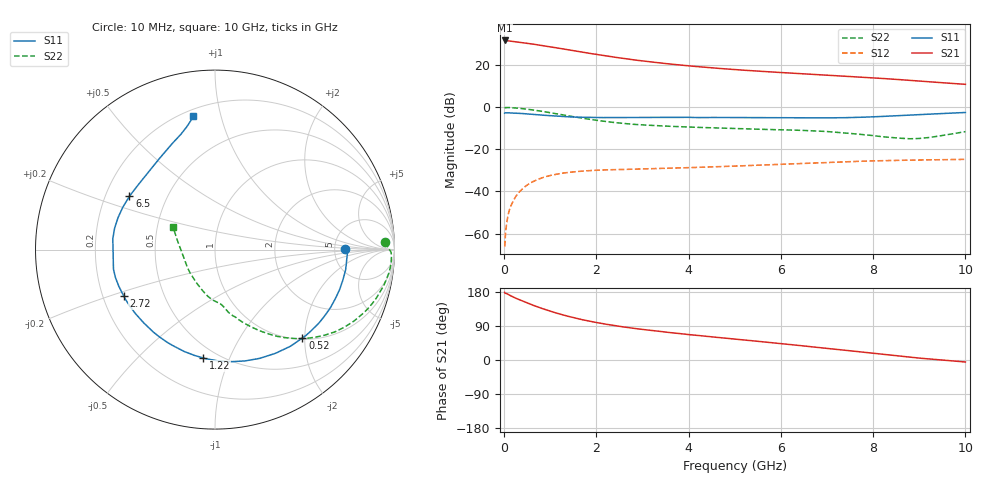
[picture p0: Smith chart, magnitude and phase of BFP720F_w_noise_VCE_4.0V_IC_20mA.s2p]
! Infineon Technologies  Discrete & RF Semiconductors
! BFP720F
! VCE =  4.0 V,  IC =  20 mA
! Common Emitter S-Parameters:  Jan 2016
# GHz  S  MA  R  50
!  f  S11  S21  S12  S22
! GHz  MAG  ANG  MAG  ANG  MAG  ANG  MAG  ANG
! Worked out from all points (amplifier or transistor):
!   233 points, 10 MHz to 10 GHz, reference 50 ohm
!   highest |S21| = 31.8 dB at 10 MHz (marker M1)
!   |S21| within 3 dB of that: start of sweep to 1.001 GHz
!   unconditionally stable (mu >= 1): start of sweep to 17.12 MHz; 5.55 GHz to end of sweep
!   at 200 MHz: K = 0.16, MSG = 37.8 dB, |S12| = -44.4 dB
!   at 1.74 GHz: K = 0.44, MSG = 28.2 dB, |S12| = -30.3 dB
!   at 10 GHz: K = 1.18, MAG = 15.3 dB, |S12| = -24.8 dB
!   lowest NFmin = 0.86 dB at 450 MHz
!   S11 on the Smith chart (normalised r, x): 10 MHz: 6.23, +0.10; 520 MHz: 1.03, -1.95; 1.22 GHz: 0.42, -0.80; 2.72 GHz: 0.29, -0.22; 6.5 GHz: 0.30, +0.26; 10 GHz: 0.24, +0.82
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0.01  0.7233 0.3  38.71 178.5  0.0005 6.9  0.9475 2.4
0.02  0.7379 -1.4  38.31 176.2  0.0007 70.3  0.9806 -0.8
0.05  0.7364 -4.3  38.2 175.5  0.0016 79.2  0.9841 -1.9
0.14  0.7329 -12.4  37.25 169.6  0.0043 79.5  0.9796 -6.8
0.24  0.7248 -21.3  36.03 163.7  0.0072 76.7  0.9631 -11.5
0.38  0.7106 -33.5  34.38 156.3  0.0111 71.9  0.9315 -18.0
0.52  0.6927 -45.3  32.82 149.6  0.0147 66.7  0.8944 -23.8
0.6  0.6833 -52.0  32.01 145.7  0.0166 63.9  0.8709 -27.2
0.8  0.6553 -67.6  29.73 136.8  0.0207 57.2  0.8089 -34.6
1  0.6309 -82.0  27.41 128.7  0.0239 51.3  0.743 -41.1
1.22  0.6073 -96.3  24.98 120.7  0.0266 45.9  0.6747 -47.3
1.48  0.5868 -111.3  22.36 112.4  0.029 40.7  0.6019 -53.7
1.68  0.5773 -121.1  20.56 106.8  0.0303 37.5  0.5533 -57.8
2.2  0.5692 -140.6  16.67 94.6  0.0325 31.6  0.4589 -66.5
2.72  0.5705 -153.2  13.81 85.1  0.0336 28.4  0.4005 -72.4
3.4  0.5751 -163.0  11.24 75.1  0.0353 26.8  0.3612 -77.4
4  0.5763 -169.0  9.634 67.1  0.0367 26.2  0.3383 -79.7
5.1  0.5708 166.8  7.726 54.0  0.0404 25.7  0.3099 -83.2
6.5  0.5618 148.0  6.228 37.0  0.0465 23.8  0.2819 -92.3
6.8  0.5592 143.1  5.955 33.3  0.0479 23.0  0.2715 -95.7
8.4  0.6213 115.0  4.679 12.5  0.0544 17.0  0.1909 -136.1
10  0.752 99.2  3.509 -5.3  0.0578 11.4  0.2639 152.0
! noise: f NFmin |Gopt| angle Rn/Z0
0.45  0.86  0.16  0  0.43
0.9  0.89  0.09  -6  0.15
1.8  0.92  0.07  -52  0.15
2.4  0.94  0.08  -58  0.15
5.5  1.06  0.08  -60  0.14
10  1.24  0.38  -81  0.26
